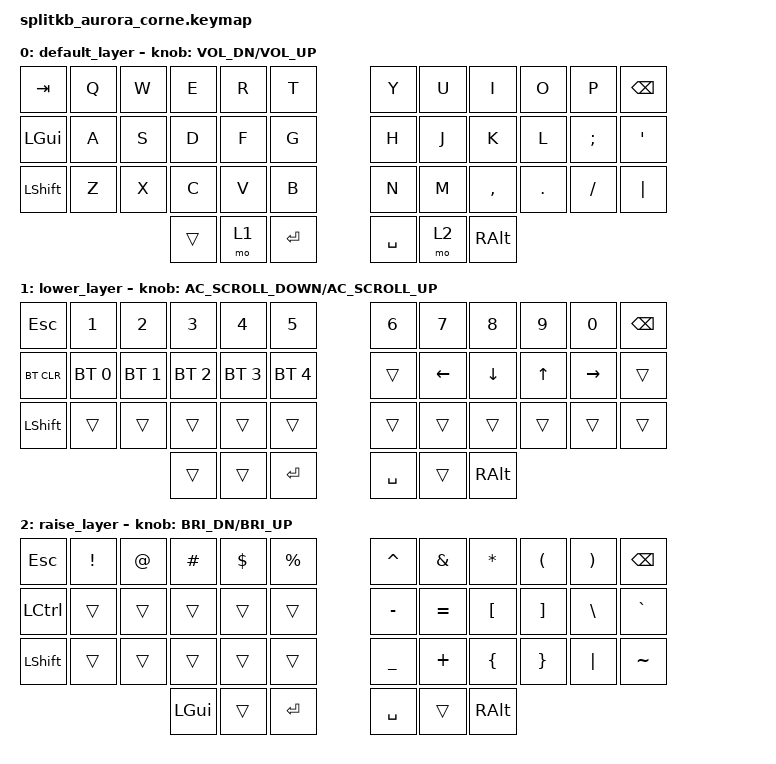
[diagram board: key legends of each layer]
/*
 * Copyright (c) 2020 The ZMK Contributors
 *
 * SPDX-License-Identifier: MIT
 */

#include <behaviors.dtsi>
#include <dt-bindings/zmk/keys.h>
#include <dt-bindings/zmk/bt.h>

/ {
        keymap {
                compatible = "zmk,keymap";

                default_layer {
// -----------------------------------------------------------------------------------------
// | TAB  |  Q  |  W  |  E  |  R  |  T  |   |  Y  |  U   |  I  |  O  |  P  | BSPC |
// | GUI  |  A  |  S  |  D  |  F  |  G  |   |  H  |  J   |  K  |  L  |  ;  |  '   |
// | SHFT |  Z  |  X  |  C  |  V  |  B  |   |  N  |  M   |  ,  |  .  |  /  | "|"  |
//                    |     | LWR | ENT |   | SPC | RSE  | ALT |
                        bindings = <
   &kp TAB   &kp Q &kp W &kp E &kp R &kp T   &kp Y &kp U  &kp I     &kp O   &kp P    &kp BSPC
   &kp LGUI  &kp A &kp S &kp D &kp F &kp G   &kp H &kp J  &kp K     &kp L   &kp SEMI &kp SQT
   &kp LSHFT &kp Z &kp X &kp C &kp V &kp B   &kp N &kp M  &kp COMMA &kp DOT &kp FSLH &kp PIPE
                     &trans  &mo 1 &kp RET   &kp SPACE &mo 2 &kp RALT
                        >;
                        sensor-bindings = <&inc_dec_kp C_VOL_DN C_VOL_UP>;
                };
                lower_layer {
// -----------------------------------------------------------------------------------------
// | ESC  |  1  |  2  |  3  |  4  |  5  |   |  6  |  7  |  8  |  9  |  0  | BSPC |
// | BTCLR| BT1 | BT2 | BT3 | BT4 | BT5 |   |     | LFT | DWN |  UP | RGT |      |
// | SHFT |     |     |     |     |     |   |     |     |     |     |     |      |
//                    |     |     | ENT |   | SPC |     | ALT |
                        bindings = <
   &kp ESC    &kp N1       &kp N2       &kp N3       &kp N4       &kp N5         &kp N6   &kp N7   &kp N8 &kp N9    &kp N0 &kp BSPC
   &bt BT_CLR &bt BT_SEL 0 &bt BT_SEL 1 &bt BT_SEL 2 &bt BT_SEL 3 &bt BT_SEL 4   &trans   &kp LEFT &kp DOWN &kp UP &kp RIGHT &trans
   &kp LSHFT  &trans       &trans       &trans       &trans       &trans         &trans   &trans   &trans &trans    &trans &trans
                                        &trans       &trans       &kp RET        &kp SPACE  &trans   &kp RALT
                        >;
                        sensor-bindings = <&inc_dec_kp C_AC_SCROLL_DOWN C_AC_SCROLL_UP>;
                };

                raise_layer {
// -----------------------------------------------------------------------------------------
// | ESC  |  !  |  @  |  #  |  $  |  %  |   |  ^  |  &  |  *  |  (  |  )  | BSPC |
// | CTRL |     |     |     |     |     |   |  -  |  =  |  [  |  ]  |  \  |  `   |
// | SHFT |     |     |     |     |     |   |  _  |  +  |  {  |  }  | "|" |  ~   |
//                    | GUI |     | ENT |   | SPC |     | ALT |
                        bindings = <
   &kp  ESC  &kp EXCL &kp AT &kp HASH &kp DLLR &kp PRCNT   &kp CARET &kp AMPS  &kp ASTRK &kp LPAR &kp RPAR &kp BSPC
   &kp LCTRL &trans   &trans &trans   &trans   &trans      &kp MINUS &kp EQUAL &kp LBKT  &kp RBKT &kp BSLH &kp GRAVE
   &kp LSHFT &trans   &trans &trans   &trans   &trans      &kp UNDER &kp PLUS  &kp LBRC  &kp RBRC &kp PIPE &kp TILDE
                             &kp LGUI &trans   &kp RET     &kp SPACE   &trans    &kp RALT
                        >;
                        sensor-bindings = <&inc_dec_kp C_BRI_DN C_BRI_UP>;
                };
        };
};
